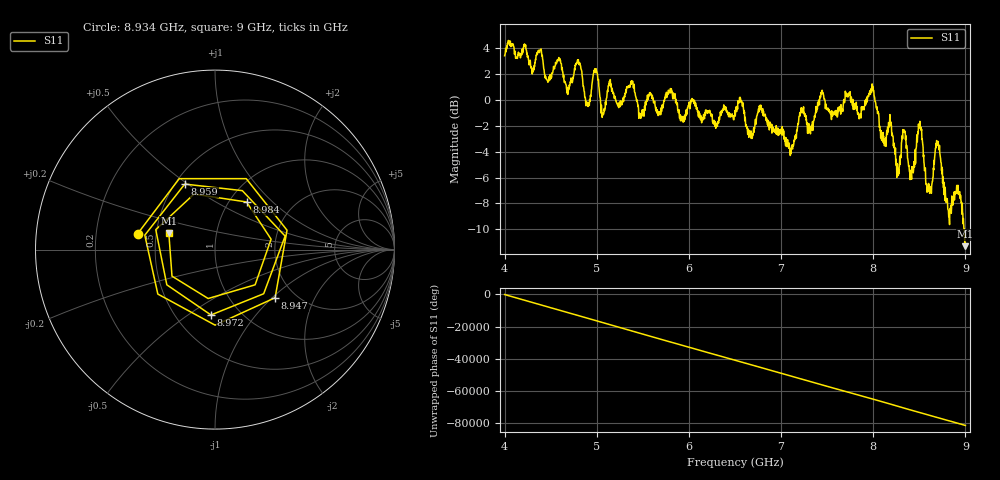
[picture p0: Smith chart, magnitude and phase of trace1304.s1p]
! Created with skrf 1.8.0 (http://scikit-rf.org).
# Hz S RI R 50.0
!freq ReS11 ImS11
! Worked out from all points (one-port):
!   1601 points, 4 GHz to 9 GHz, reference 50 ohm
!   lowest |S11| = -11.3 dB at 9 GHz (marker M1), VSWR 1.75, Z = 29.1 + j5.66 ohm
!   |S11| at or under -10 dB: 8.988229 GHz to end of sweep
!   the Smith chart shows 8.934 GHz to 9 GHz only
!   S11 on the Smith chart (normalised r, x): 8.934 GHz: 0.39, +0.09; 8.947 GHz: 1.59, -1.04; 8.959 GHz: 0.56, +0.49; 8.972 GHz: 0.74, -0.62; 8.984 GHz: 1.20, +0.71; 9 GHz: 0.58, +0.11
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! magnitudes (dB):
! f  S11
! 4 GHz  3.4
! 4.625 GHz  2.5
! 5.25 GHz  -0.5
! 5.381 GHz  1.4
! 5.478 GHz  -1.4
! 5.875 GHz  -0.3
! 6.5 GHz  -0.8
! 7.125 GHz  -3.8
! 7.219 GHz  -0.6
! 7.312 GHz  -2.2
! 7.434 GHz  0.6
! 7.75 GHz  0.6
! 7.988 GHz  1.2
! 8.191 GHz  -1.7
! 8.259 GHz  -5.6
! 8.331 GHz  -2.3
! 8.375 GHz  -4.6
! 8.425 GHz  -5.4
! 8.506 GHz  -1.7
! 8.594 GHz  -7.1
! 8.697 GHz  -3.2
! 8.812 GHz  -8.5
! 8.934 GHz  -7.1
! 8.947 GHz  -7.4
! 8.959 GHz  -7.9
! 8.972 GHz  -8.8
! 8.984 GHz  -9.9
! 9 GHz  -11.3
